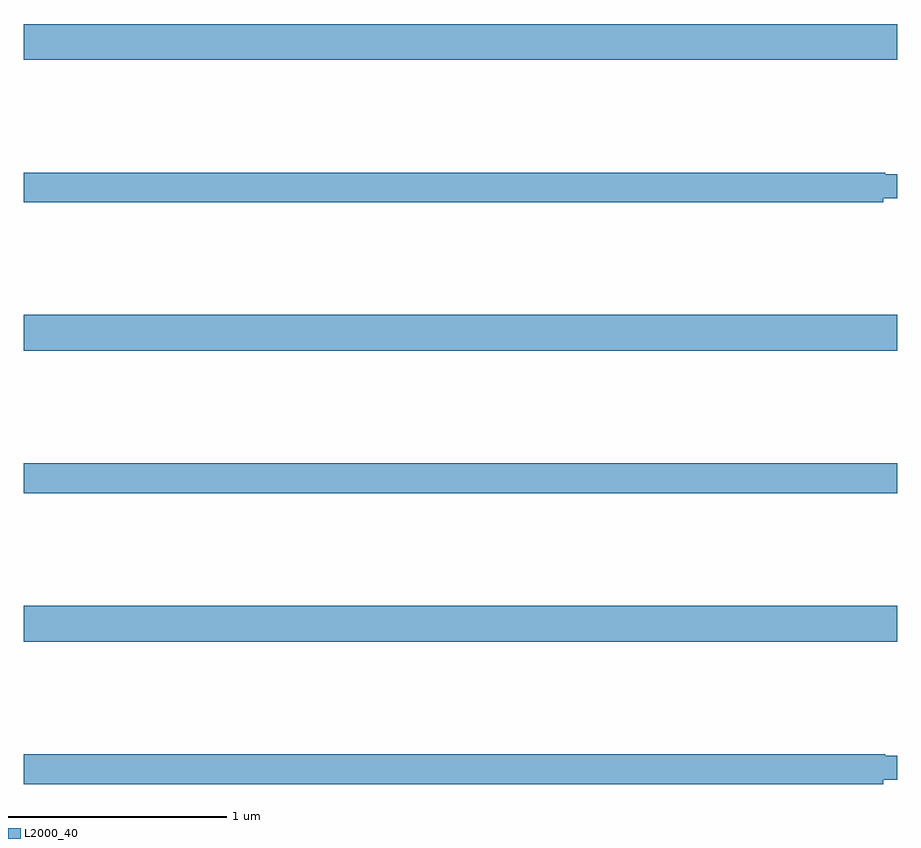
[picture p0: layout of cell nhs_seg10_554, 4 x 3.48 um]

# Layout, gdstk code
import gdstk
lib = gdstk.Library(unit=1e-6, precision=1e-09)
def R(c, l, rs):  # rectangles x0, y0, x1, y1
    for r in rs: c.add(gdstk.rectangle(r[:2], r[2:], *l))
def A(c, l, x, y, w, h, nx, ny, dx, dy):  # array of equal rectangles
    R(c, l, [(x+i*dx, y+j*dy, x+i*dx+w, y+j*dy+h) for i in range(nx) for j in range(ny)])
def P(c, l, *ps):  # polygons
    for p in ps: c.add(gdstk.Polygon(p, *l))
L2000_40 = (2000, 40)

nhs_seg10_554 = lib.new_cell('nhs_seg10_554')
A(nhs_seg10_554, L2000_40, 137, 1317.632, 4, 0.164, 1, 3, 0, 1.332)
R(nhs_seg10_554, L2000_40, [(137,1318.312,141,1318.448)])
P(nhs_seg10_554, L2000_40, [(140.936,1319.663),(141,1319.663),(141,1319.773),(140.945,1319.773),(140.945,1319.78),(137,1319.78),(137,1319.644),(140.936,1319.644)],
  [(140.936,1316.999),(141,1316.999),(141,1317.109),(140.945,1317.109),(140.945,1317.116),(137,1317.116),(137,1316.98),(140.936,1316.98)])

lib.write_gds('nhs_seg10_554.gds')
